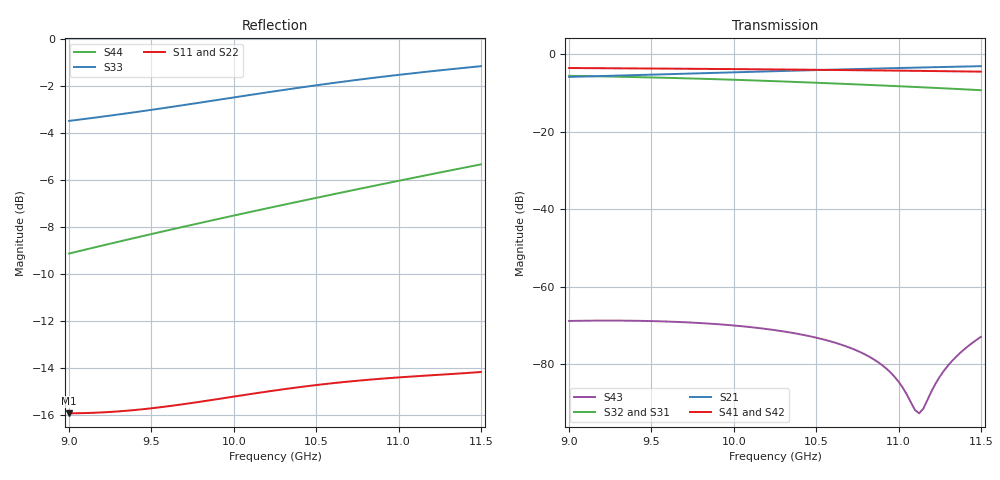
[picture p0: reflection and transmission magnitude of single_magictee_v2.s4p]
! Touchstone file exported from HFSS 2025.2.4
!  File:  C:/Users/chaoy/Documents/single_magictee_v2_stageA/g2_5p40mm_lt_6p00mm/single_magictee_v2.aedt
!  Generated:  03:01:38 PM Sep 19, 2026
!  Design:  SingleMagicT_v2
!  Project:  single_magictee_v2
! Variables:
!  f_adapt = 10.2GHz
!  ridge_g1 = 7.672mm
!  ridge_g2 = 5.4mm
!  ridge_l1 = 9.872mm
!  ridge_l2 = 8.857mm
!  ridge_w = 4.572mm
!  terminal_ridge_len = 6mm
!  wg_a = 22.86mm
!  wg_b = 10.16mm
!Data is not renormalized
# GHz S MA
! Terminal data exported
! Port[1] = P1_CollinearMinusX
! Port[2] = P2_CollinearPlusX
! Port[3] = P3_HArm_Ridged
! Port[4] = P4_EArm
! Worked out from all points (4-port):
!   101 points, 9 GHz to 11.5 GHz, reference per port
!   strongest paths, dB at 9 GHz, 9.625 GHz, 10.25 GHz, 10.88 GHz, 11.5 GHz:
!     S41: -3.6, -3.7, -3.9, -4.2, -4.5
!     S42: -3.6, -3.7, -3.9, -4.2, -4.5
!     S21: -5.9, -5.1, -4.4, -3.7, -3.1
!     S32: -5.6, -6.1, -7.0, -8.0, -9.3
!     S31: -5.6, -6.1, -7.0, -8.0, -9.3
!     S43: -68.8, -69.0, -71.2, -79.4, -72.9
!   lowest |S11| = -15.9 dB at 9 GHz (marker M1), VSWR 1.38
!   |S11| at or under -10 dB: start of sweep to end of sweep
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9  0.1596 -159.5  0.509 -160.4  0.5257 108.4  0.6627 45.1
   0.509 -160.4  0.1601 -159.4  0.5257 108.3  0.6625 -134.9
   0.5257 108.4  0.5257 108.3  0.6688 -163.1  0.0003619 -112.2
   0.6627 45.1  0.6625 -134.9  0.0003619 -112.2  0.3492 -108.9
9.35  0.1616 167.6  0.5333 160.0  0.509 65.3  0.656 5.1
      0.5333 160.0  0.1621 167.7  0.5091 65.2  0.6559 -174.9
      0.509 65.3  0.5091 65.2  0.6941 148.8  0.0003648 -162.7
      0.656 5.1  0.6559 -174.9  0.0003648 -162.7  0.3735 -146.6
9.775  0.1685 127.9  0.5652 113.5  0.4834 13.9  0.6469 -41.9
       0.5652 113.5  0.1689 128.0  0.4835 13.9  0.6468 138.1
       0.4834 13.9  0.4835 13.9  0.7298 91.0  0.0003419 137.4
       0.6469 -41.9  0.6468 138.1  0.0003419 137.4  0.404 168.6
10.475  0.1828 60.9  0.6213 39.0  0.4298 -68.6  0.6291 -116.7
        0.6213 39.0  0.1832 61.0  0.4299 -68.6  0.629 63.3
        0.4298 -68.6  0.4299 -68.6  0.794 -1.1  0.0002265 41.4
        0.6291 -116.7  0.629 63.3  0.0002265 41.4  0.4567 96.3
11.05  0.1908 5.4  0.6665 -21.0  0.3816 -134.9  0.6113 -176.4
       0.6665 -21.0  0.191 5.4  0.3817 -134.9  0.6112 3.6
       0.3816 -134.9  0.3817 -134.9  0.8418 -74.5  4.08e-05 -61.0
       0.6113 -176.4  0.6112 3.6  4.08e-05 -61.0  0.5027 37.9
11.3  0.1933 -18.3  0.6854 -46.8  0.3604 -163.7  0.6026 157.8
      0.6854 -46.8  0.1935 -18.4  0.3605 -163.7  0.6024 -22.2
      0.3604 -163.7  0.3605 -163.7  0.8604 -106.7  9.594e-05 136.6
      0.6026 157.8  0.6024 -22.2  9.594e-05 136.6  0.5235 12.6
11.5  0.1954 -37.0  0.7001 -67.4  0.3428 172.9  0.5951 137.3
      0.7001 -67.4  0.1957 -37.2  0.343 173.0  0.5949 -42.7
      0.3428 172.9  0.343 173.0  0.8745 -133.2  0.0002256 103.7
      0.5951 137.3  0.5949 -42.7  0.0002256 103.7  0.5404 -7.5
